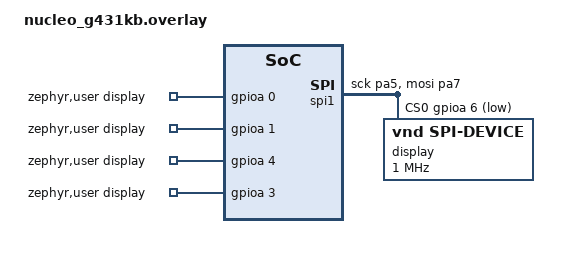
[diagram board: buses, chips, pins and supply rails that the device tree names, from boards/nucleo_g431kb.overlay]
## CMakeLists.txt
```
# SPDX-License-Identifier: Apache-2.0

cmake_minimum_required(VERSION 3.20.0)

# Pull in our own Kconfig (which sources Kconfig.zephyr plus the
# out-of-tree driver options under drivers/) instead of Zephyr's
# default root Kconfig.
set(KCONFIG_ROOT ${CMAKE_CURRENT_SOURCE_DIR}/Kconfig)

find_package(Zephyr REQUIRED HINTS $ENV{ZEPHYR_BASE})
project(display)
set(TARGET_NAME app)
set(sources src/main.c
    images/dashboard.c
#[[    User/Config/DEV_Config.c
    User/e-Paper/EPD_2in15g.c
    User/Examples/EPD_2in15g_test.c
    User/Examples/ImageData.c
    User/Fonts/font8.c
    User/Fonts/font12.c
    User/Fonts/font16.c
    User/Fonts/font20.c
    User/Fonts/font24.c
    User/Fonts/font24CN.c
    User/GUI/GUI_Paint.c#]])

if(CONFIG_JD79661)
  list(APPEND sources drivers/jd79661.c)
endif()

target_sources(${TARGET_NAME} PRIVATE ${sources})
#[[target_include_directories(${TARGET_NAME} PUBLIC ${CMAKE_CURRENT_SOURCE_DIR}/User/e-Paper 
                                                 ${CMAKE_CURRENT_SOURCE_DIR}/User/Examples
                                                 ${CMAKE_CURRENT_SOURCE_DIR}/User/Fonts
                                                 ${CMAKE_CURRENT_SOURCE_DIR}/User/GUI
                                                 ${CMAKE_CURRENT_SOURCE_DIR}/User/Config
                                                 )#]]
```

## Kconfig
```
# SPDX-License-Identifier: Apache-2.0

mainmenu "display"

# Note: 'source' statements resolve relative to the Zephyr root
# directory ($ZEPHYR_BASE), so this still pulls in the normal Zephyr
# Kconfig tree. 'rsource' resolves relative to this file instead, to
# reach our own out-of-tree driver options.
source "Kconfig.zephyr"

rsource "drivers/Kconfig.jd79661"
```

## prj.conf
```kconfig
CONFIG_POSIX_API=y
CONFIG_LOG=y
CONFIG_LOG_MODE_IMMEDIATE=y
CONFIG_SPI=y
#CONFIG_UART_ASYNC_API=y
CONFIG_GPIO=y
CONFIG_PRINTK=y

#power management

# LVGL - minimal build, only the label widget enabled
CONFIG_DISPLAY=y
CONFIG_LVGL=y
CONFIG_LV_CONF_MINIMAL=y 
CONFIG_LV_USE_LABEL=y
CONFIG_LV_USE_IMAGE=y
CONFIG_LV_Z_MEM_POOL_SIZE=24000
# Render the whole 300x400 screen in a single buffer/flush instead of
# chunking into multiple VDB-sized bands (the default 10%). Bands
# beyond the first have been observed to get the wrong, byte-rounded
# width from LVGL's chunk-splitting path even though the equivalent
# single-region write is correct - going single-shot sidesteps that
# entirely. 300*400/8 + 8 = 15008 bytes; MEM_POOL_SIZE bumped above to
# fit it plus headroom for other LVGL allocations.
CONFIG_LV_Z_VDB_SIZE=100
CONFIG_MAIN_STACK_SIZE=4096
#CONFIG_LV_DRAW_SW_SUPPORT_ARGB8888=y
CONFIG_LV_COLOR_DEPTH_1=y
CONFIG_LV_USE_THEME_MONO=y
CONFIG_DISPLAY_LOG_LEVEL_DBG=y
CONFIG_LV_FONT_MONTSERRAT_14=y
CONFIG_LV_FONT_DEFAULT_MONTSERRAT_14=y
CONFIG_DISPLAY_COLOR_PALETTE=n
# LV_DRAW_TRANSFORM_USE_MATRIX + LV_Z_FULL_REFRESH were tried for
# LVGL-side screen rotation (lv_display_set_matrix_rotation()) and
# reverted: LV_DISPLAY_RENDER_MODE_FULL makes lv_inv_area() (lv_refr.c)
# return before ever firing LV_EVENT_INVALIDATE_AREA - the event
# lvgl_rounder_cb_mono() is registered on - which silently disables
# the SCREEN_INFO_X_ALIGNMENT_WIDTH/MONO_VTILED byte-rounding fixes
# that fixed everything earlier this session. Rotation is instead
# handled at the devicetree level (width/height swapped + `rotation`
# property on the ssd1683 node, see lvgl-display-ssd1683.dtsi), which
# keeps the whole PARTIAL render-mode pipeline unchanged.
# CONFIG_LV_USE_MATRIX=y
# CONFIG_LV_DRAW_TRANSFORM_USE_MATRIX=y
# CONFIG_LV_Z_FULL_REFRESH=y
```

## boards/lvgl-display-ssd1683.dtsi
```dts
/*
 * Copyright (c) 2025 Cactus Engineering S.L
 *
 * SPDX-License-Identifier: Apache-2.0
 *
 * Common devicetree fragment wiring up the Solomon Systech SSD1683
 * EPD controller (4.2inch e-Paper panel, 400x300 marketed / 300x400
 * native per the driver's quirks bounds - see the width/height note
 * below) over MIPI-DBI Mode C (4-wire SPI), using Zephyr's mainline
 * drivers/display/ssd16xx.c. Support for "solomon,ssd1683" was
 * backported into the local Zephyr checkout from upstream main (not
 * yet present in the pinned Zephyr revision this project uses) - see
 * drivers/display/Kconfig.ssd16xx and drivers/display/ssd16xx.c.
 *
 * "spi1" must already be configured (pinctrl, cs-gpios, status =
 * "okay") by the including board overlay, same as lvgl-display.dtsi
 * and lvgl-display-uc8176.dtsi require today.
 *
 * Only one panel's fragment (this one, lvgl-display.dtsi, or
 * lvgl-display-uc8176.dtsi) should be included by a given board
 * overlay - only one chosen zephyr,display can be active per build.
 */

/ {
	chosen {
		zephyr,display = &epd_ssd1683;
	};

	mipi_dbi_epd_ssd1683: mipi_dbi_epd_ssd1683 {
		compatible = "zephyr,mipi-dbi-spi";
		spi-dev = <&spi1>;
		#address-cells = <1>;
		#size-cells = <0>;
		write-only;
		dc-gpios = <&gpio0 29 GPIO_ACTIVE_HIGH>;
		reset-gpios = <&gpio0 3 GPIO_ACTIVE_LOW>;

		epd_ssd1683: ssd1683@0 {
			compatible = "solomon,ssd1683";
			reg = <0>;
			mipi-max-frequency = <4000000>;

			/*
			 * Unlike JD79661/UC81xx (active low), the BUSY
			 * pin of SSD16XX is active HIGH per
			 * solomon,ssd16xx-common.yaml - active high is
			 * correct here for a direct connection, no
			 * inversion needed.
			 */
			busy-gpios = <&gpio0 28 GPIO_ACTIVE_HIGH>;

			/*
			 * Selects the controller's internal temperature
			 * sensor (0x80, matching both Waveshare's official
			 * EPD_4in2_V2.c reference driver and the real
			 * "beaglebadge" board upstream that also uses this
			 * chip family). Without this, ssd16xx.c's
			 * load_temp/LOAD_TEMPERATURE gating (see
			 * ssd16xx_update_display() and ssd16xx_load_lut() in
			 * ssd16xx.c) stays false, so every refresh runs
			 * without the LOAD_TEMPERATURE bit set in the Display
			 * Update Control 2 command and falls back to
			 * ssd16xx_load_ws_from_otp()'s hardcoded generic 25C
			 * waveform load instead of a real sensor-selected one.
			 * Confirmed by computing the actual byte our driver
			 * sends for that command: without tssv it's 0xD7/0xDF
			 * for full/partial; Waveshare's reference sends
			 * 0xF7/0xFF for the equivalent calls - the only
			 * difference is this exact bit.
			 */
			tssv = <0x80>;

			/*
			 * Panel is native 300x400 portrait; keep width/
			 * height at that native, proven-safe size (matches
			 * the quirks bounds - see the comment below) rather
			 * than declaring the swapped 400x300 landscape size
			 * directly. `rotation` handles the landscape mapping
			 * instead: it makes ssd16xx_set_window()'s bounds
			 * check transpose which axis desc->width/height get
			 * validated against (x/width vs. panel_h,
			 * config->height rounded to a page boundary; y/height
			 * vs. config->width - see ssd16xx_write() in
			 * ssd16xx.c), and ssd16xx_get_capabilities() has been
			 * updated to report x_resolution/y_resolution
			 * transposed to match for ROTATED_90/270, so LVGL
			 * sees a genuine 400x300 (well, panel_h x
			 * config->width) landscape canvas with no LVGL-side
			 * rotation needed (that was tried and reverted - see
			 * main.c and prj.conf: LV_DISPLAY_RENDER_MODE_FULL,
			 * required by lv_display_set_matrix_rotation(),
			 * bypasses the rounder callback our
			 * SCREEN_INFO_X_ALIGNMENT_WIDTH/MONO_VTILED fixes
			 * depend on).
			 *
			 * Direction (90 vs 270) is a guess pending real-
			 * hardware confirmation - swap if the image comes out
			 * mirrored or upside-down.
			 *
			 * The driver's quirks bounds for this chip are
			 * max_width=300, max_height=400 - swapped from the
			 * "400x300" marketed resolution, matching this native
			 * width/height.
			 */
			width = <300>;
			height = <400>;
			rotation = <90>;

			full {
				/*
				 * Otherwise falls back to OTP defaults, same
				 * as the reference-driver-free JD79661 full
				 * profile did before we added overrides.
				 *
				 * border-waveform matches Waveshare's
				 * EPD_4in2_V2.c reference driver, which
				 * always explicitly sets BorderWaveform
				 * (0x3C) to 0x05 in its full-refresh Init().
				 * Left unset, this stays at OTP/power-on
				 * default, which showed up on real hardware
				 * as a grayish frame around the screen's
				 * border after a full refresh (partial
				 * refresh doesn't show it, matching its own
				 * different override below).
				 */
				border-waveform = <0x05>;
			};

			partial {
				/*
				 * Must be present: per
				 * solomon,ssd16xx-common.yaml, "partial
				 * refresh will be disabled unless a partial
				 * refresh profile has been specified" - this
				 * is the whole reason this panel was chosen
				 * over the JD79661, so don't drop this node.
				 *
				 * border-waveform matches Waveshare's
				 * EPD_4in2_V2.c reference driver, which
				 * always explicitly sets BorderWaveform
				 * (0x3C) to 0x80 in EPD_4IN2_V2_PartialDisplay().
				 */
				border-waveform = <0x80>;
			};
		};
	};
};
```

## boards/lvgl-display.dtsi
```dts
/*
 * Copyright (c) 2025 Cactus Engineering S.L
 *
 * SPDX-License-Identifier: Apache-2.0
 *
 * Common devicetree fragment wiring up the Jadard JD79661AA EPD
 * controller (Waveshare 2.15inch e-Paper (G) panel, 160x296) over
 * MIPI-DBI Mode C (4-wire SPI), using drivers/jd79661.c.
 *
 * This file only declares the parts that don't vary per board: the
 * mipi-dbi-spi wrapper's addressing, the panel's electrical/protocol
 * settings (resolution, soft-start, power tuning), and the profile
 * values taken from Waveshare's reference driver
 * (User/e-Paper/EPD_2in15g.c), which are already known to work on
 * this exact panel.
 *
 * "spi1" must already be configured (pinctrl, cs-gpios, status =
 * "okay") by the including board overlay, as
 * boards/nucleo_g431kb.overlay and
 * boards/nrf52840dongle_nrf52840_bare.overlay already do today for
 * their placeholder "vnd,spi-device" node.
 *
 * Every board overlay that includes this file MUST also override the
 * GPIO pins below to match its own wiring - they differ per board and
 * are intentionally left unset here (an unresolved GPIO bank label,
 * e.g. "gpioa" on an nRF board, would fail to compile even if later
 * overridden). Use the pins already listed under each board's
 * "zephyr,user { display-gpios = ... }" node:
 *
 *   &mipi_dbi_epd {
 *           dc-gpios = <&gpioX N GPIO_ACTIVE_HIGH>;
 *           reset-gpios = <&gpioX N GPIO_ACTIVE_HIGH>;
 *   };
 *
 *   &epd_jd79661 {
 *           busy-gpios = <&gpioX N GPIO_ACTIVE_HIGH>;
 *   };
 *
 * The panel's power-enable pin (the 4th entry of "display-gpios" in
 * the board overlays today) is not part of the MIPI-DBI/display
 * bindings and must still be toggled by the application.
 *
 * Once a board overlay includes this file, its old placeholder
 * "display: display@0 { compatible = "vnd,spi-device"; ... }" node
 * under &spi1 is superseded and should be removed.
 */

/ {
	chosen {
		zephyr,display = &epd_jd79661;
	};

	mipi_dbi_epd: mipi_dbi_epd {
		compatible = "zephyr,mipi-dbi-spi";
		spi-dev = <&spi1>;
		#address-cells = <1>;
		#size-cells = <0>;
		write-only;
    dc-gpios = <&gpio0 29 GPIO_ACTIVE_HIGH>;
    reset-gpios = <&gpio0 3 GPIO_ACTIVE_LOW>;

		epd_jd79661: jd79661aa@0 {
			compatible = "jadard,jd79661aa";
			reg = <0>;
			mipi-max-frequency = <1000000>;
      busy-gpios = <&gpio0 28 GPIO_ACTIVE_HIGH>;
			max-width =<296>;
			max-height=<160>;
			width = <296>;
			height = <160>;

			/*
			 * Booster soft start (R06h), verbatim from the
			 * vendor reference driver's EPD_2IN15G_Init().
			 */
			softstart = [0F 0A 2F 25 22 2E 21];

			full {
				/*
				 * Power setting (R01h): only the first two
				 * bytes (VDG/VDS/VSC enables and VGPN) are
				 * overridden, same as the reference driver;
				 * the remaining analog voltage bytes keep
				 * their MTP defaults.
				 */
				pwr = [07 00];
				cdi = <0x37>;
				pll = <0x02>;
				
				/* Gate/source non-overlap (R60h): S2G, G2S */
				tcon = [02 02];
			};
		};
	};
};
```

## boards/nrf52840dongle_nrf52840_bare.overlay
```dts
#include "lvgl-display-ssd1683.dtsi"
#include "sample.dtsi"


&{/chosen}{
  zephyr,console = &uart0;        
  zephyr,shell-uart = &uart0;     
	zephyr,uart-mcumgr = &uart0;    
	zephyr,bt-mon-uart = &uart0;    
	zephyr,bt-c2h-uart = &uart0;
};


&uart0_default{
		group1 {
			psels = <NRF_PSEL(UART_TX, 0, 4)>; /*5*/
		};
    group2 {
			psels = <NRF_PSEL(UART_RX, 0, 5)>;
			bias-pull-up;
		};
	};

&uart0_sleep {
		group1 {
			psels = <NRF_PSEL(UART_RX, 0, 8)>,
				<NRF_PSEL(UART_RTS, 0, 5)>,
				<NRF_PSEL(UART_CTS, 0, 7)>;
			low-power-enable;
		};

		group2 {
			psels = <NRF_PSEL(UART_TX, 0, 6)>;
			low-power-enable;
			bias-pull-up;
		};
	};

&pwm0_default {
		group1 {
			psels = <NRF_PSEL(PWM_OUT0, 0, 11)>,
				<NRF_PSEL(PWM_OUT1, 0,13)>,
				<NRF_PSEL(PWM_OUT2, 0, 14)>;
			nordic,invert;
		};
};

&pwm0_sleep {
		group1 {
			psels = <NRF_PSEL(PWM_OUT0, 0, 11)>,
				<NRF_PSEL(PWM_OUT1, 0, 13)>,
				<NRF_PSEL(PWM_OUT2, 0, 14)>;
			low-power-enable;
	};
};

&led1_red {
			gpios = <&gpio0 2 GPIO_ACTIVE_HIGH>;
			label = "Red LED 1";
		};

&i2c0_default{
	group1 {
			psels = <NRF_PSEL(TWIM_SDA, 0, 23)>,
				<NRF_PSEL(TWIM_SCL, 0, 24)>;
	};
};	

&spi1_default{
	group1{
		psels = <NRF_PSEL(SPIM_SCK,0,14)>, /*14*/
						<NRF_PSEL(SPIM_MOSI,0,31)>;/*18*/
		
	};
};


&spi1{
	cs-gpios =<&gpio0 30 GPIO_ACTIVE_LOW>;	/* 20*/	
};		
```

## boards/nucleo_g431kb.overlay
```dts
&spi1{
  pinctrl-0 = <&spi1_sck_pa5               
               &spi1_mosi_pa7>;
  cs-gpios = <&gpioa 6 GPIO_ACTIVE_LOW>;           
  pinctrl-names = "default";  
  status = "okay";
  display: display@0{ 
      compatible = "vnd,spi-device";
      reg = <0>;
      spi-max-frequency = <1000000>;
    };
};

&spi1_sck_pa5{
  /delete-property/ bias-pull-down;
  drive-push-pull;
};

/{
  zephyr,user{
    display-gpios = <&gpioa 0 GPIO_ACTIVE_HIGH>, /* dc */
                    <&gpioa 1 GPIO_ACTIVE_HIGH>, /* busy */
                    <&gpioa 4 GPIO_ACTIVE_HIGH>, /* reset */
                    <&gpioa 3 GPIO_ACTIVE_HIGH>; /* power */
  };
};
```

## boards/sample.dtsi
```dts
&spi1{
	display:display@0{
		compatible = "vnd,spi-device";
    reg = <0>;
    spi-max-frequency = <1000000>;
  };
};

/{
  zephyr,user{
    display-gpios = <&gpio0 29 GPIO_ACTIVE_HIGH>, /* dc     22*/
                    <&gpio0 28 GPIO_ACTIVE_HIGH>, /* busy   24 */
                    <&gpio0 3 GPIO_ACTIVE_HIGH>,  /* reset  26 */
                    <&gpio1 15 GPIO_ACTIVE_HIGH>; /* power  30 */
  };
};
```

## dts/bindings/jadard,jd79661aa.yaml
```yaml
# Copyright (c) 2025 Cactus Engineering S.L
# SPDX-License-Identifier: Apache-2.0

description: |
  Jadard JD79661AA all-in-one EPD driver/TCON, used on 4-level color
  (e.g. black/white/yellow/red) panels up to 176x296, 2 bits per
  pixel, such as the Waveshare 2.15inch e-Paper (G) / 2.15inch e-Paper
  HAT+.

compatible: "jadard,jd79661aa"

include: [mipi-dbi-spi-device.yaml, display-controller.yaml]

properties:
  busy-gpios:
    type: phandle-array
    required: true
    description: |
      BUSY_N pin. Active low on the JD79661AA: "0" = busy, "1" = idle.
      If connected directly the MCU pin should be configured as
      active low.

  softstart:
    type: uint8-array
    description: Booster Soft Start (BTST, R06h) values, 7 bytes.

  max-width:
    type: int
    default: 176
    description: |
      Maximum horizontal resolution supported by this instance, in
      pixels. Defaults to the JD79661AA's single-chip maximum (176).
      Only needs overriding for a cascaded (multi-chip) panel, up to
      352 for a 2-chip cascade - see section 3 "Block Diagram" /
      "Cascade type" in the datasheet.

  max-height:
    type: int
    default: 296
    description: |
      Maximum vertical resolution supported by this instance, in
      pixels. Defaults to the JD79661AA's maximum (296).

child-binding:
  description: |
    Child nodes describe refresh profiles. Each refresh profile
    specifies a set of values used to drive the refresh cycle.
    Refresh nodes are optional and are used to override the defaults
    loaded from the controller's MTP.

    The partial refresh profile is used when performing a partial
    refresh (writes while blanking is off). Since the controller
    always supports partial updates, the driver uses the full refresh
    profile and scans the partial window corresponding to the write
    if no partial profile has been provided.

    The driver looks for the following child nodes:

      - 'full' - Normal / full refresh.
      - 'partial' - Partial refresh, defaults to the values in the
        full profile if not present.

    Unlike the UC81xx family, the JD79661AA only ever loads its LUTs
    from on-chip MTP, so profiles cannot override them.

  properties:
    pwr:
      type: uint8-array
      description: Power Setting (PWR, R01h) values, up to 6 bytes.

    tcon:
      type: uint8-array
      description: |
        Gate/source non-overlap setting (R60h), 2 bytes: S2G, G2S.

    cdi:
      type: int
      description: |
        VCOM and data interval setting (R50h), written verbatim as a
        full byte (VBD, DDX and CDI[3:0] bits included) - same as the
        vendor reference driver.

    pll:
      type: int
      description: PLL / frame rate control (R30h).

    vdcs:
      type: int
      description: VCOM DC setting (R82h).
```

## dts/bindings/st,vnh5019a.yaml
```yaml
description: GPIOs for the vnhs5019a motor driver

compatible: "st,vnh5019a"
properties:
  gpios:
    type: phandle-array
    required: true
    description: |
      gpios use for the vnhs5019a motor driver.
```

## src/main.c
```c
#include <zephyr/device.h>
#include <zephyr/devicetree.h>
#include <zephyr/drivers/display.h>
#include <zephyr/kernel.h>
#include <zephyr/logging/log.h>
#include <lvgl.h>

LOG_MODULE_REGISTER(main, LOG_LEVEL_DBG);

LV_IMAGE_DECLARE(dashboard);

/*
 * Card layout measured directly from images/dashboard.png (400x300): three
 * 111px-wide cards, each with an icon glyph ending by y=146 and its unit
 * label ("C" / "%" / "mBar") starting by y=227, leaving a shared y=146..225
 * gap for a value readout between them.
 */
#define CARD_WIDTH   111
#define CARD1_X      28
#define CARD2_X      148
#define CARD3_X      266
#define VALUE_LABEL_Y 178

static lv_obj_t *temperature_label;
static lv_obj_t *humidity_label;
static lv_obj_t *pressure_label;

static lv_obj_t *create_value_label(lv_obj_t *parent, lv_coord_t x)
{
	lv_obj_t *label = lv_label_create(parent);

	lv_obj_set_style_bg_opa(label, LV_OPA_TRANSP, LV_PART_MAIN);
	lv_obj_set_style_text_color(label, lv_color_black(), LV_PART_MAIN);
	lv_obj_set_style_text_align(label, LV_TEXT_ALIGN_CENTER, LV_PART_MAIN);
	lv_obj_set_width(label, CARD_WIDTH);
	lv_obj_set_pos(label, x, VALUE_LABEL_Y);
	lv_label_set_text(label, "--");

	return label;
}

int main(void)
{
	const struct device *display_dev = DEVICE_DT_GET(DT_CHOSEN(zephyr_display));

	if (!device_is_ready(display_dev)) {
		LOG_ERR("Display device not ready");
		return 0;
	}

	lv_obj_t *screen = lv_screen_active();

	/*
	 * The very first full-screen invalidation of the program's lifetime
	 * never reaches lvgl_rounder_cb_mono() and gets permanently cached
	 * with the wrong, byte-rounded bounds - see "5. First invalidation
	 * of the program's lifetime never reaches the rounder" in
	 * Docs/SSD1683_bringup_bugs_and_fixes.md. Burn a disposable
	 * invalidate+render cycle here, before anything is on screen, so
	 * the real image render below is the second invalidation instead.
	 */
	lv_obj_invalidate(screen);
	lv_timer_handler();

	lv_obj_t *img = lv_image_create(screen);

	lv_image_set_src(img, &dashboard);
	lv_obj_center(img);

	/*
	 * Value readouts sit on top of the static background image, in the
	 * gap between each card's icon and its unit label. Placeholder text
	 * for now - replace with lv_label_set_text() calls once real sensor
	 * readings are wired in, followed by lv_obj_invalidate(screen) (or
	 * just the changed label) + lv_timer_handler() to push the update.
	 */
	temperature_label = create_value_label(screen, CARD1_X);
	humidity_label = create_value_label(screen, CARD2_X);
	pressure_label = create_value_label(screen, CARD3_X);

	lv_timer_handler();

	while (1) {
		k_msleep(1000);
	}

	return 0;
}
```
